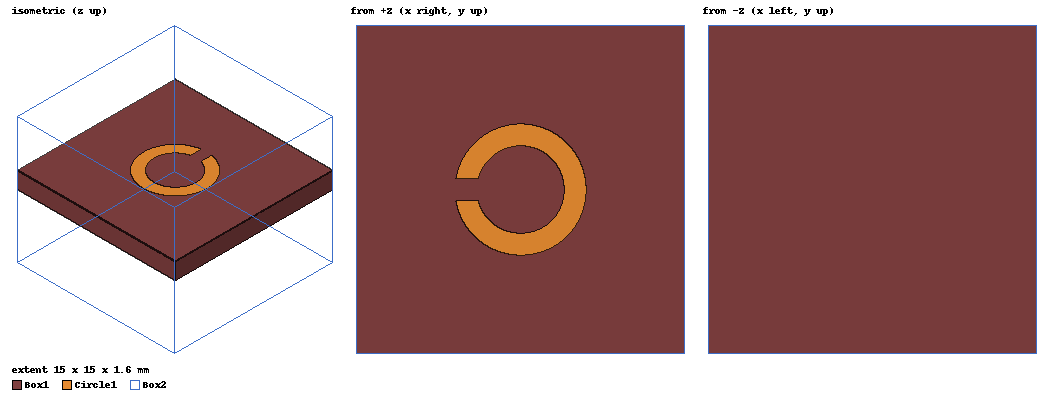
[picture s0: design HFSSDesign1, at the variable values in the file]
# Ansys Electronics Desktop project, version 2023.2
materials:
  vacuum: permittivity=1
  FR4_epoxy: permittivity=4.4 dielectric_loss_tangent=0.02

design HFSSDesign1 (HFSS, HFSS Modal Network, model units mm)
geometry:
  Box1 [FR4_epoxy] = box(corner=(0mm, 0mm, 0mm), size=(15mm, 15mm, 1.6mm))
  Circle1 = circle(normal=Z, centre=(7.5mm, 7.5mm, 1.6mm), radius=3mm)
  Circle2 = circle(normal=Z, centre=(7.5mm, 7.5mm, 1.6mm), radius=2mm)
  Circle1.subtract(Circle2)
  Rectangle1 = rectangle(corner=(4mm, 7mm, 1.6mm), x_size=2mm, y_size=1mm)
  Circle1.subtract(Rectangle1)
  Box2 [vacuum] = box(corner=(0mm, 0mm, -6mm), size=(15mm, 15mm, 12mm))
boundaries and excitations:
  PerfE1: Perfect E Objects=Circle1
  PerfE2: Perfect E Faces=Box2.face(+x)
  PerfE3: Perfect E Faces=Box2.face(-x)
  PerfH1: Perfect H Faces=Box2.face(+z)
  PerfH2: Perfect H Faces=Box2.face(-z)
  1: Wave Port Faces=Box2.face(+y) WavePortType=Default NumModes=1 Modes{Mode1{IntLine{(15, 15, 0.8) -> (0, 15, 0.8)} CharImp=Zpi}}
  2: Wave Port Faces=Box2.face(-y) WavePortType=Default NumModes=1 Modes{Mode1{IntLine{(0, 0, 0.8) -> (15, 0, 0.8)} CharImp=Zpi}}
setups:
  Setup1: HfssDriven Frequency=5GHz MaxDeltaS=0.02 MaximumPasses=10 MinimumPasses=1 MinimumConvergedPasses=1 PercentRefinement=30 BasisOrder=1 PortAccuracy=2 DrivenSolverType="Direct Solver"
    sweep Sweep: 1GHz to 10GHz, 401 points; Type=Interpolating InterpTolerance=0.5 InterpMaxSolns=250 InterpUsePortImped=false PassivityErrorTolerance=0.0001
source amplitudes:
  1:1: 1W 0deg
  2:1: 0W 0deg
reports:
  S Parameter Plot 1: dB(S(1,1)), dB(S(2,1)) vs Freq on Setup1 : Sweep
  S Parameter Plot 2: mag(S(1,1)), mag(S(2,1)) vs Freq on Setup1 : Sweep; markers m1 at 5.7025GHz
